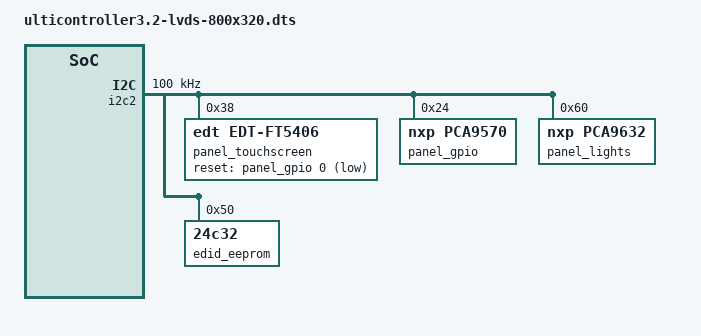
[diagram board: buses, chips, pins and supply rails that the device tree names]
/*
 * Copyright (C) 2020 - Ultimaker B.V.
 * Copyright (C) 2020 - Raymond Siudak <raysiudak@gmail.com>
*/

#include "ultimainboard5-lvds.dtsi"

/ {
    lvdspanel {
        panel-timing {
            clock-frequency = <25820000>;
            hactive = <800>;
            vactive = <320>;
            hsync-len = <46>;
            hfront-porch = <4>;
            hback-porch = <47>;
            vsync-len = <3>;
            vfront-porch = <15>;
            vback-porch = <184>;
        };
    };
};

&i2c2 {
    clock-frequency = <100000>;
    panel_touchscreen: ft5426@38 {
        compatible = "edt,edt-ft5406";
        reg = <0x38>;
        poll-interval = <30>;
        reset-gpios = <&panel_gpio 0 GPIO_ACTIVE_LOW>;
        touchscreen-size-x = <800>;
        touchscreen-size-y = <320>;
    };

    panel_gpio: pca9570@24 {
        compatible = "nxp,pca9570";
        gpio-controller;
        #gpio-cells = <2>;
        reg = <0x24>;
        gpio-line-names = "TOUCH_RST", "TOUCH_INT", "PWR_DWN", "ENABLE";
    };

    panel_lights: pca9632@60 {
        compatible = "nxp,pca9632";
        #address-cells = <1>;
        #size-cells = <0>;
        reg = <0x60>;
        nxp,totem-pole;
        nxp,hw-blink;
        panel_backlight: backlight@3 {
            label = "white:panel_backlight";
            reg = <3>;
            linux,default-trigger = "default-on";
        };
    };

    edid_eeprom: 24c32@50 { /* 24LC02B 2K Microchip EEPROM */
        // compatible = "24c32", "atmel,24c32";
        compatible = "24c32";
        reg = <0x50>;
        pagesize = <32>;
        size = <4096>;  // 32Kb (4KB) EEPROM size
    };
};

